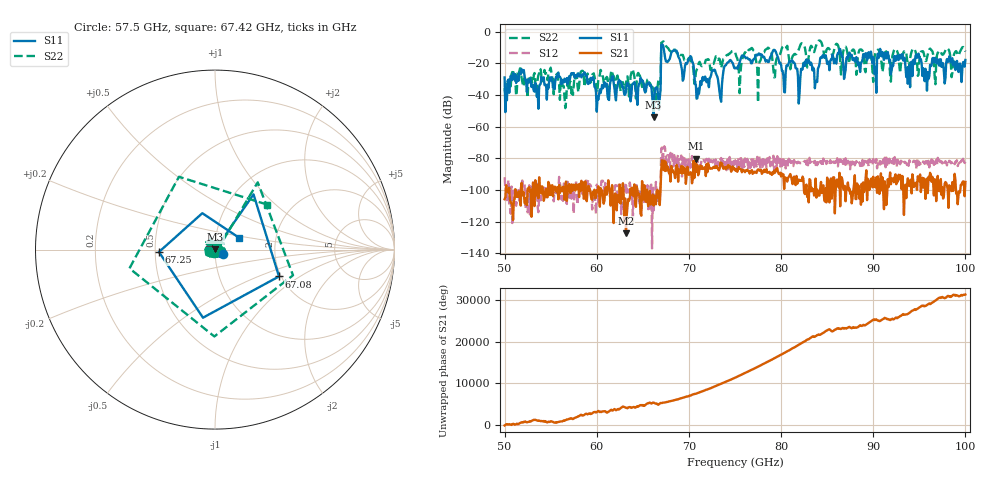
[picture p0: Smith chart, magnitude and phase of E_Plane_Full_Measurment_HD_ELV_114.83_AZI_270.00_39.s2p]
! 11/26/2026 3:35:36 PM
! C:\ANRITSUVNA\TEMP\TEMP.S2P
! CHANNEL.1
! TR.MEASUREMENT
! RAW.DATA
# HZ S RI R 50.0
! FREQ.HZ  S11RE  S11IM  S21RE  S21IM  S12RE  S12IM  S22RE  S22IM
!; PortSelection: Port_12
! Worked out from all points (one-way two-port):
!   601 points, 50 GHz to 100 GHz, reference 50 ohm
!   highest |S21| = -80.20 dB at 70.75 GHz (marker M1); lowest = -127.4 dB at 63.17 GHz (marker M2)
!   lowest |S11| = -54.1 dB at 66.17 GHz (marker M3), VSWR 1.00, Z = 50.1 + j0.143 ohm
!   |S11| at or under -10 dB: start of sweep to 67 GHz; 67.25 GHz to end of sweep
!   |S22| runs from -48.4 to -5.6 dB; largest |S21 - S12| = 0.00027
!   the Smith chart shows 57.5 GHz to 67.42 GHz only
!   S11 on the Smith chart (normalised r, x): 57.5 GHz: 1.09, -0.05; 67.08 GHz: 1.95, -0.69; 67.25 GHz: 0.52, -0.02; 67.42 GHz: 1.29, +0.18
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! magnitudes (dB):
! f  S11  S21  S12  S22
! 50 GHz  -29.0  -105.9  -92.0  -35.7
! 51.67 GHz  -26.3  -102.0  -104.2  -23.3
! 57.5 GHz  -26.2  -96.8  -115.2  -34.6
! 58.42 GHz  -27.2  -99.7  -102.5  -24.7
! 60.17 GHz  -43.0  -97.7  -107.9  -30.4
! 63.17 GHz  -37.9  -127.4  -95.4  -33.2
! 66.17 GHz  -54.1  -109.9  -113.0  -34.0
! 66.67 GHz  -41.5  -105.0  -105.9  -31.6
! 67.08 GHz  -8.3  -81.3  -73.2  -6.8
! 67.25 GHz  -10.1  -87.5  -75.0  -6.2
! 67.42 GHz  -16.5  -88.1  -73.7  -8.3
! 70.17 GHz  -15.5  -88.8  -86.0  -18.5
! 70.75 GHz  -33.4  -80.2  -86.3  -25.7
! 75 GHz  -23.3  -87.2  -81.5  -13.0
! 79.25 GHz  -11.5  -87.7  -87.7  -28.9
! 80.25 GHz  -27.9  -90.2  -80.7  -9.3
! 83.42 GHz  -24.5  -100.5  -83.0  -10.8
! 91.67 GHz  -16.8  -98.2  -84.5  -15.2
! 93.75 GHz  -32.9  -92.7  -82.5  -21.3
! 94.83 GHz  -15.0  -91.4  -84.5  -27.9
! 95.83 GHz  -37.3  -92.9  -81.1  -16.5
! 100 GHz  -17.9  -95.0  -82.2  -12.6
